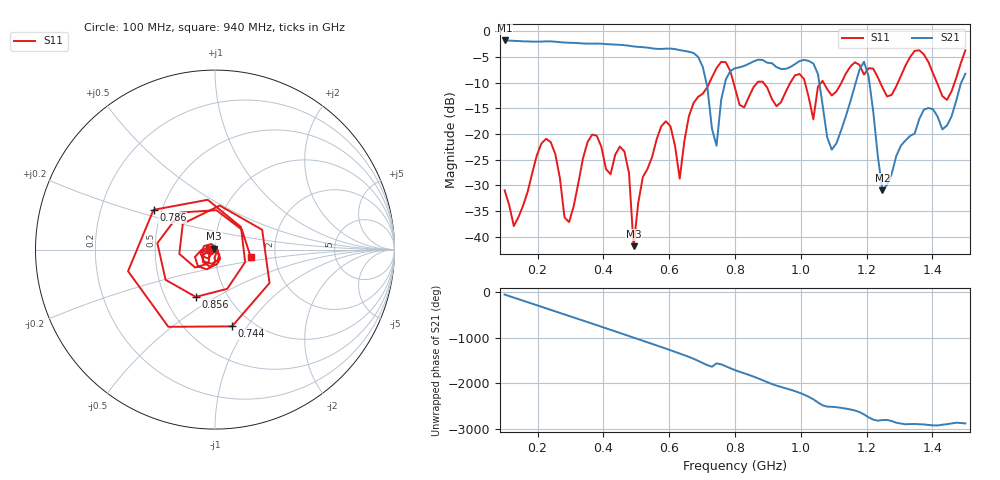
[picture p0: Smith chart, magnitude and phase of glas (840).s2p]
! NanoVNA-App
! Date: 2025-09-25 16:02:01
! Start: 100MHz Stop: 1,5GHz Points: 101
! S-Parameter data: F S11 S21 S12 S22
# Hz S RI R 50
!  Frequency  S11_Real  S11_Imag  S21_Real  S21_Imag  S12_Real  S12_Imag  S22_Real  S22_Imag
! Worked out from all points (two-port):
!   101 points, 100 MHz to 1.5 GHz, reference 50 ohm
!   highest |S21| = -1.80 dB at 100 MHz (marker M1); lowest = -31.0 dB at 1.248 GHz (marker M2)
!   |S21| within 3 dB of the highest: start of sweep to 684.4 MHz
!   lowest |S11| = -41.8 dB at 492 MHz (marker M3), VSWR 1.02, Z = 49.5 + j0.6 ohm
!   |S11| at or under -10 dB: start of sweep to 722.5 MHz; 795.5 MHz to 867.7 MHz (72.23 MHz wide, 8.69 % of centre); 886.3 MHz to 968.2 MHz (81.93 MHz wide, 8.84 % of centre) (the widest 3 of 7)
!   S12 and S22 are empty: the file has one direction only
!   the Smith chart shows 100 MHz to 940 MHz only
!   S11 on the Smith chart (normalised r, x): 100 MHz: 0.94, -0.01; 744 MHz: 0.81, -0.85; 786 MHz: 0.45, +0.24; 856 MHz: 0.71, -0.41; 940 MHz: 1.49, -0.14
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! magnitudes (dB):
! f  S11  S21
! 100 MHz  -30.9  -1.8
! 128 MHz  -37.9  -1.9
! 226 MHz  -20.9  -2.0
! 296 MHz  -37.1  -2.2
! 338 MHz  -24.7  -2.4
! 464 MHz  -23.4  -2.7
! 492 MHz  -41.8  -3.0
! 576 MHz  -18.5  -3.4
! 632 MHz  -28.7  -3.7
! 702 MHz  -12.2  -6.9
! 744 MHz  -7.2  -22.3
! 786 MHz  -7.8  -7.7
! 800 MHz  -11.0  -7.2
! 856 MHz  -10.9  -5.9
! 940 MHz  -13.8  -7.4
! 1.038 GHz  -17.1  -6.3
! 1.094 GHz  -12.5  -23.0
! 1.192 GHz  -8.4  -5.9
! 1.248 GHz  -11.0  -31.0
! 1.276 GHz  -12.4  -27.7
! 1.444 GHz  -13.4  -18.3
! 1.5 GHz  -3.7  -8.3
